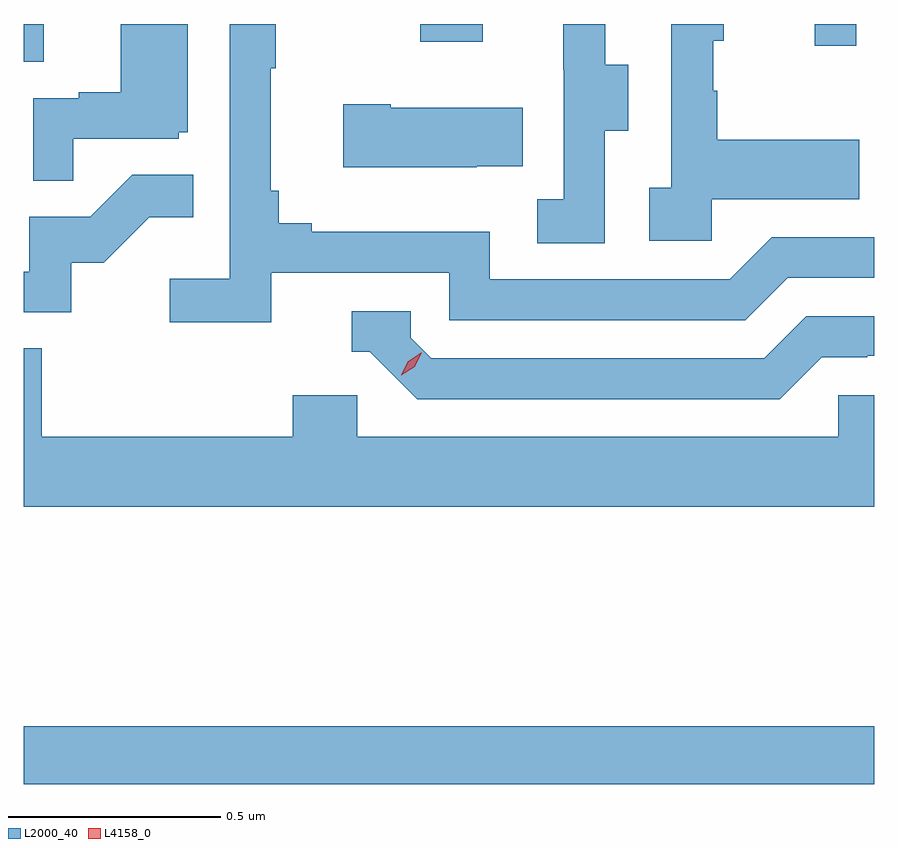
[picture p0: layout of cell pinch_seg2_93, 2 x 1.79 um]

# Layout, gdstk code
import gdstk
lib = gdstk.Library(unit=1e-6, precision=1e-09)
def R(c, l, rs):  # rectangles x0, y0, x1, y1
    for r in rs: c.add(gdstk.rectangle(r[:2], r[2:], *l))
def P(c, l, *ps):  # polygons
    for p in ps: c.add(gdstk.Polygon(p, *l))
L2000_40 = (2000, 40)
L4158_0 = (4158, 0)

pinch_seg2_93 = lib.new_cell('pinch_seg2_93')
R(pinch_seg2_93, L2000_40, [(1069.322,657.64,1071.322,657.776), (1069.322,659.338,1069.369,659.427), (1071.182,659.376,1071.279,659.427), (1070.254,659.385,1070.401,659.427)])
P(pinch_seg2_93, L2000_40, [(1069.439,659.157),(1069.686,659.157),(1069.686,659.172),(1069.708,659.172),(1069.708,659.427),(1069.55,659.427),(1069.55,659.266),(1069.451,659.266),(1069.451,659.253),(1069.344,659.253),(1069.344,659.059),(1069.439,659.059)],
  [(1070.94,659.015),(1071.287,659.015),(1071.287,659.155),(1070.953,659.155),(1070.953,659.27),(1070.943,659.27),(1070.943,659.388),(1070.968,659.388),(1070.968,659.427),(1070.844,659.427),(1070.844,659.042),(1070.793,659.042),(1070.793,658.917),(1070.94,658.917)],
  [(1070.688,659.176),(1070.743,659.176),(1070.743,659.331),(1070.689,659.331),(1070.689,659.427),(1070.591,659.427),(1070.591,659.319),(1070.592,659.319),(1070.592,659.015),(1070.529,659.015),(1070.529,658.912),(1070.688,658.912)],
  [(1069.904,658.842),(1070.322,658.842),(1070.322,658.731),(1071.019,658.731),(1071.118,658.83),(1071.322,658.83),(1071.322,658.926),(1071.081,658.926),(1070.982,658.827),(1070.418,658.827),(1070.418,658.939),(1069.999,658.939),(1069.999,658.958),(1069.922,658.958),(1069.922,659.035),(1069.903,659.035),(1069.903,659.323),(1069.915,659.323),(1069.915,659.427),(1069.806,659.427),(1069.806,658.828),(1069.665,658.828),(1069.665,658.726),(1069.904,658.726)],
  [(1070.387,659.093),(1070.495,659.093),(1070.495,659.23),(1070.185,659.23),(1070.185,659.238),(1070.073,659.238),(1070.073,659.09),(1070.387,659.09)],
  [(1069.434,658.866),(1069.51,658.866),(1069.617,658.973),(1069.721,658.973),(1069.721,659.072),(1069.577,659.072),(1069.479,658.974),(1069.335,658.974),(1069.335,658.845),(1069.322,658.845),(1069.322,658.749),(1069.434,658.749)],
  [(1071.199,658.644),(1071.306,658.644),(1071.306,658.647),(1071.322,658.647),(1071.322,658.74),(1071.162,658.74),(1071.063,658.641),(1070.28,658.641),(1070.232,658.689),(1070.232,658.752),(1070.093,658.752),(1070.093,658.656),(1070.136,658.656),(1070.247,658.545),(1071.1,658.545)],
  [(1071.322,658.554),(1071.237,658.554),(1071.237,658.456),(1070.106,658.456),(1070.106,658.554),(1069.955,658.554),(1069.955,658.456),(1069.364,658.456),(1069.364,658.664),(1069.322,658.664),(1069.322,658.292),(1071.322,658.292)])
P(pinch_seg2_93, L4158_0, [(1070.21,658.601),(1070.21,658.602),(1070.226,658.634),(1070.257,658.654),(1070.258,658.654),(1070.258,658.654),(1070.241,658.621),(1070.21,658.601)])

lib.write_gds('pinch_seg2_93.gds')
